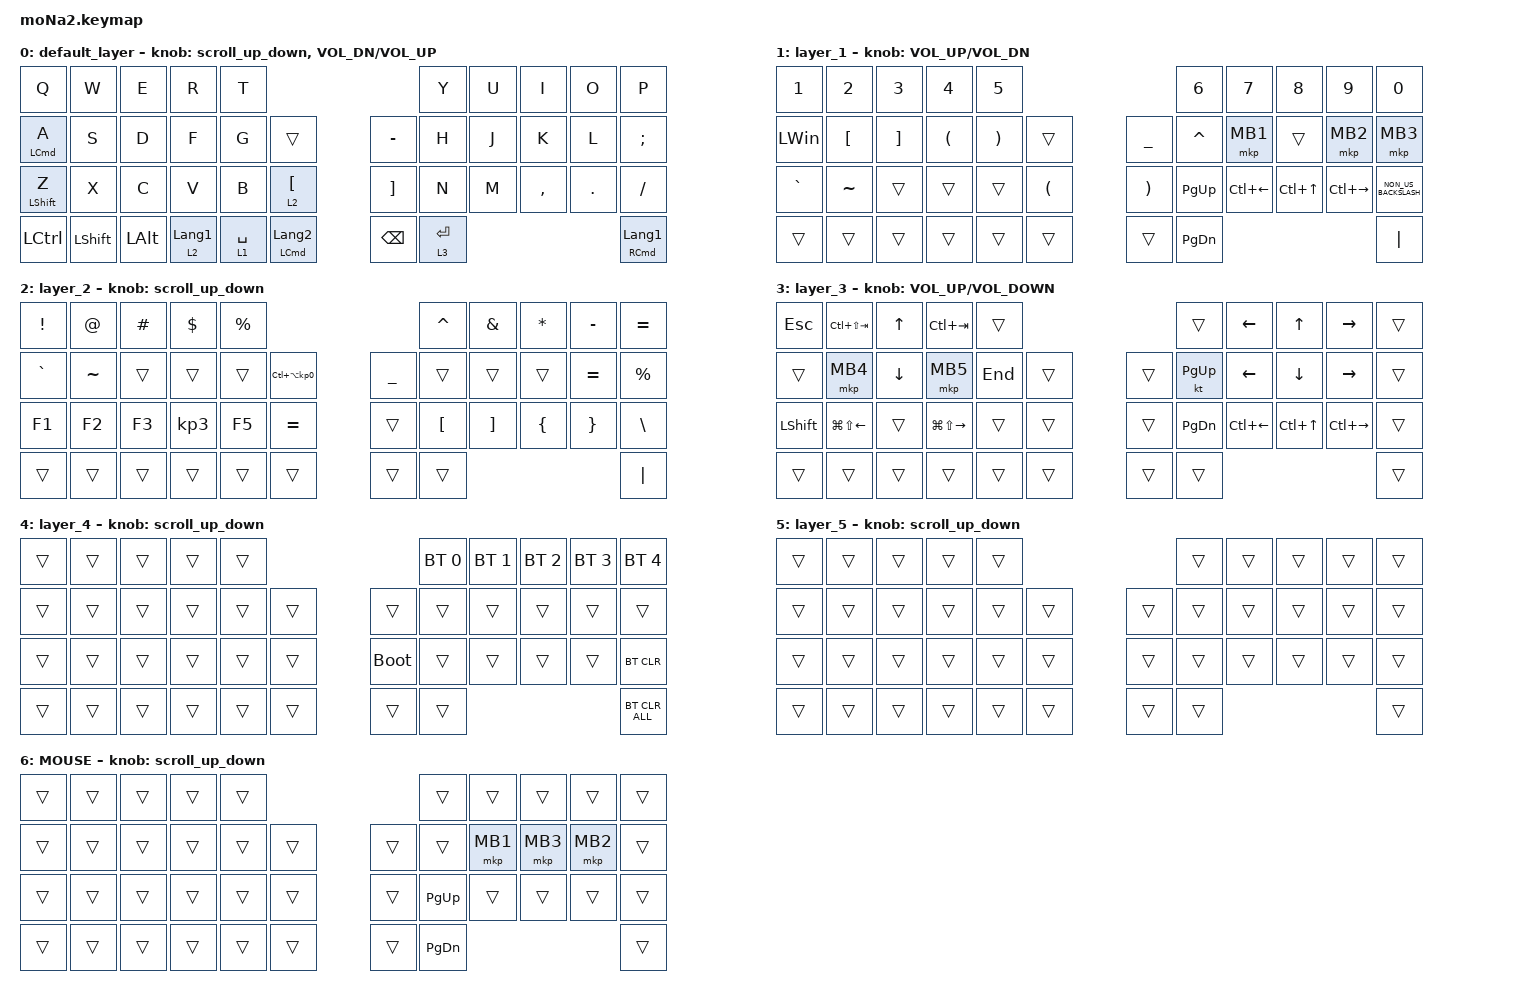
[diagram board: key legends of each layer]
#include <behaviors.dtsi>
#include <dt-bindings/zmk/bt.h>
#include <dt-bindings/zmk/keys.h>
#include <dt-bindings/zmk/pointing.h>

#define ZMK_POINTING_DEFAULT_SCRL_VAL 100
#define MOUSE 6

&mt {
    flavor = "balanced";
    quick-tap-ms = <0>;
};

/ {
    combos {
        compatible = "zmk,combos";

        tab {
            bindings = <&kp TAB>;
            key-positions = <11 12>;
        };

        eq {
            bindings = <&kp EQUAL>;
            key-positions = <8 9>;
        };

        d_q {
            bindings = <&kp DOUBLE_QUOTES>;
            key-positions = <19 20>;
        };

        s_q {
            bindings = <&kp SINGLE_QUOTE>;
            key-positions = <21 20>;
        };

        minus {
            bindings = <&kp MINUS>;
            key-positions = <8 7>;
        };

        question {
            bindings = <&kp QUESTION>;
            key-positions = <33 32>;
        };
    };

    macros {
        to_layer_0: to_layer_0 {
            compatible = "zmk,behavior-macro-one-param";
            #binding-cells = <1>;
            bindings = <&to 0 &macro_param_1to1 &kp MACRO_PLACEHOLDER>;
            label = "TO_LAYER_0";
        };
    };

    behaviors {
        lt_to_layer_0: lt_to_layer_0 {
            compatible = "zmk,behavior-hold-tap";
            label = "LAYER_TAP_TO_0";
            bindings = <&mo>, <&to_layer_0>;

            #binding-cells = <2>;
            tapping-term-ms = <200>;
        };

        scroll_up_down: behavior_sensor_rotate_mouse_wheel_up_down {
            compatible = "zmk,behavior-sensor-rotate";
            #sensor-binding-cells = <0>;
            bindings = <&msc SCRL_UP>, <&msc SCRL_DOWN>;

            tap-ms = <20>;
        };
    };

    keymap {
        compatible = "zmk,keymap";

        default_layer {
            bindings = <
&kp Q               &kp W           &kp E         &kp R             &kp T                                                          &kp Y        &kp U  &kp I      &kp O    &kp P
&mt LEFT_COMMAND A  &kp S           &kp D         &kp F             &kp G        &trans                         &kp MINUS          &kp H        &kp J  &kp K      &kp L    &kp SEMICOLON
&mt LEFT_SHIFT Z    &kp X           &kp C         &kp V             &kp B        &lt 2 LEFT_BRACKET             &kp RIGHT_BRACKET  &kp N        &kp M  &kp COMMA  &kp DOT  &kp SLASH
&kp LCTRL           &kp LEFT_SHIFT  &kp LEFT_ALT  &lt 2 LANGUAGE_1  &lt 1 SPACE  &mt LEFT_COMMAND LANGUAGE_2    &kp BACKSPACE      &lt 3 ENTER                             &mt RIGHT_COMMAND LANGUAGE_1
            >;

            sensor-bindings =
                <&scroll_up_down>,
                <&inc_dec_kp C_VOL_DN C_VOL_UP>;
        };

        layer_1 {
            bindings = <
&kp NUMBER_1  &kp NUMBER_2      &kp NUMBER_3       &kp NUMBER_4          &kp N5                                                                &kp NUMBER_6   &kp N7        &kp N8            &kp N9         &kp N0
&kp LEFT_WIN  &kp LEFT_BRACKET  &kp RIGHT_BRACKET  &kp LEFT_PARENTHESIS  &kp RIGHT_PARENTHESIS  &trans                  &kp UNDERSCORE         &kp CARET      &mkp MB1      &trans            &mkp MB2       &mkp MB3
&kp GRAVE     &kp TILDE         &trans             &trans                &trans                 &kp LEFT_PARENTHESIS    &kp RIGHT_PARENTHESIS  &kp PAGE_UP    &kp LC(LEFT)  &kp LC(UP_ARROW)  &kp LC(RIGHT)  &kp NON_US_BACKSLASH
&trans        &trans            &trans             &trans                &trans                 &trans                  &trans                 &kp PAGE_DOWN                                                 &kp PIPE
            >;

            sensor-bindings = <&inc_dec_kp C_VOLUME_UP C_VOL_DN>;
        };

        layer_2 {
            bindings = <
&kp EXCLAMATION  &kp AT_SIGN  &kp HASH  &kp DOLLAR       &kp PERCENT                                             &kp CARET         &kp AMPERSAND      &kp ASTERISK    &kp MINUS        &kp EQUAL
&kp GRAVE        &kp TILDE    &trans    &trans           &trans       &kp LC(LA(KP_NUMBER_0))    &kp UNDERSCORE  &trans            &trans             &trans          &kp EQUAL        &kp PERCENT
&kp F1           &kp F2       &kp F3    &kp KP_NUMBER_3  &kp F5       &kp EQUAL                  &trans          &kp LEFT_BRACKET  &kp RIGHT_BRACKET  &kp LEFT_BRACE  &kp RIGHT_BRACE  &kp BACKSLASH
&trans           &trans       &trans    &trans           &trans       &trans                     &trans          &trans                                                                &kp PIPE
            >;

            sensor-bindings = <&scroll_up_down>;
        };

        layer_3 {
            bindings = <
&kp ESCAPE      &kp LC(LS(TAB))         &kp UP_ARROW    &kp LC(TAB)              &trans                     &trans         &kp LEFT      &kp UP_ARROW      &kp RIGHT      &trans
&trans          &mkp MB4                &kp DOWN_ARROW  &mkp MB5                 &kp END  &trans    &trans  &kt PAGE_UP    &kp LEFT      &kp DOWN          &kp RIGHT      &trans
&kp LEFT_SHIFT  &kp LG(LS(LEFT_ARROW))  &trans          &kp LG(LS(RIGHT_ARROW))  &trans   &trans    &trans  &kp PAGE_DOWN  &kp LC(LEFT)  &kp LC(UP_ARROW)  &kp LC(RIGHT)  &trans
&trans          &trans                  &trans          &trans                   &trans   &trans    &trans  &trans                                                        &trans
            >;

            sensor-bindings = <&inc_dec_kp C_VOLUME_UP C_VOLUME_DOWN>;
        };

        layer_4 {
            bindings = <
&trans  &trans  &trans  &trans  &trans                         &bt BT_SEL 0  &bt BT_SEL 1  &bt BT_SEL 2  &bt BT_SEL 3  &bt BT_SEL 4
&trans  &trans  &trans  &trans  &trans  &trans    &trans       &trans        &trans        &trans        &trans        &trans
&trans  &trans  &trans  &trans  &trans  &trans    &bootloader  &trans        &trans        &trans        &trans        &bt BT_CLR
&trans  &trans  &trans  &trans  &trans  &trans    &trans       &trans                                                  &bt BT_CLR_ALL
            >;

            sensor-bindings = <&scroll_up_down>;
        };

        layer_5 {
            bindings = <
&trans  &trans  &trans  &trans  &trans                    &trans  &trans  &trans  &trans  &trans
&trans  &trans  &trans  &trans  &trans  &trans    &trans  &trans  &trans  &trans  &trans  &trans
&trans  &trans  &trans  &trans  &trans  &trans    &trans  &trans  &trans  &trans  &trans  &trans
&trans  &trans  &trans  &trans  &trans  &trans    &trans  &trans                          &trans
            >;

            sensor-bindings = <&scroll_up_down>;
        };

        MOUSE {
            bindings = <
&trans  &trans  &trans  &trans  &trans                    &trans         &trans    &trans    &trans    &trans
&trans  &trans  &trans  &trans  &trans  &trans    &trans  &trans         &mkp MB1  &mkp MB3  &mkp MB2  &trans
&trans  &trans  &trans  &trans  &trans  &trans    &trans  &kp PAGE_UP    &trans    &trans    &trans    &trans
&trans  &trans  &trans  &trans  &trans  &trans    &trans  &kp PAGE_DOWN                                &trans
            >;

            sensor-bindings = <&scroll_up_down>;
        };
    };
};
